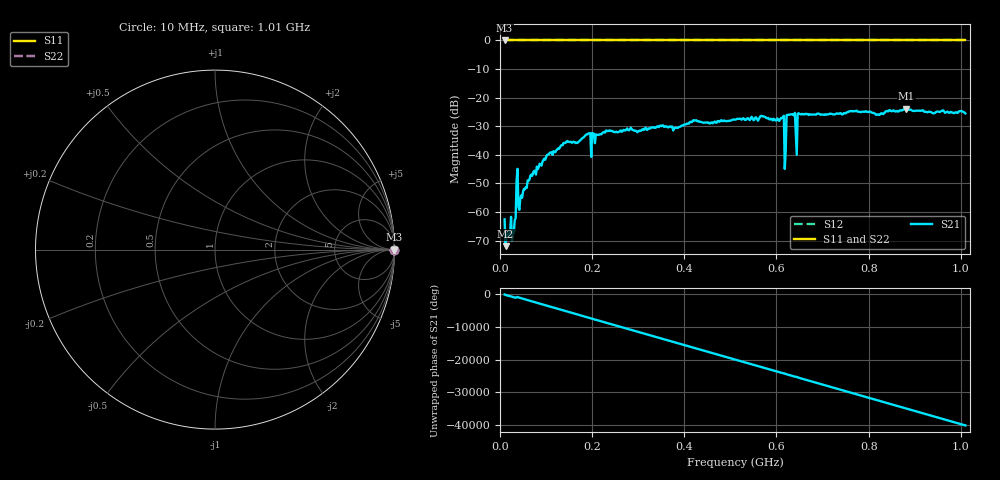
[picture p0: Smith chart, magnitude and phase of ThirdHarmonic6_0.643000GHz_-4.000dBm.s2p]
! 8/15/2025 9:17:06 PM
! C:\ANRITSUVNA\TEMP\TEMP.S2P
! CHANNEL.1
! TR.MEASUREMENT
! RAW.DATA
! RF.CORRECTION.OFF
! AVERAGING.OFF
! IF.BANDWIDTH: 5KHZ
! SWEEPTYPE:  FREQ.SWEEP(Linear)
! Reference Plane Port Info
! PORT:  PORT1  PORT2
! DISTANCE:  0  m  0  m
! TIME:  0  s  0  s
! PHASE.OFFSET:  0  deg.  0  deg.
! LOSS:  0  dB  0  dB
! REF.LOSS:  0  dB  0  dB
! REF.FREQ:  0  Hz  0  Hz
! Power Info
! POWER:  -20  dBm  -20  dBm
! EFF.POWER:  -20  dBm  -20  dBm
! SOURCE.ATTEN:  0  dB  0  dB
! TEST.ATTEN:  0  dB  0  dB
# GHZ S RI R 50.0
! FREQ.GHZ  S11RE  S11IM  S21RE  S21IM  S12RE  S12IM  S22RE  S22IM
!; PortSelection: Port_12
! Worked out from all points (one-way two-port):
!   501 points, 10 MHz to 1.01 GHz, reference 50 ohm
!   highest |S21| = -23.90 dB at 882 MHz (marker M1); lowest = -71.9 dB at 12 MHz (marker M2)
!   lowest |S11| = 0.0 dB at 10 MHz (marker M3)
!   |S11| at or under -10 dB: nowhere
!   |S22| runs from 0.0 to 0.0 dB; largest |S21 - S12| = 1.1
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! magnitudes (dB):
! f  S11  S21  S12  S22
! 10 MHz  0.0  -62.5  0.0  0.0
! 12 MHz  0.0  -71.9  0.0  0.0
! 30 MHz  0.0  -67.0  0.0  0.0
! 34 MHz  0.0  -62.1  0.0  0.0
! 40 MHz  0.0  -58.0  0.0  0.0
! 44 MHz  0.0  -55.4  0.0  0.0
! 64 MHz  0.0  -48.6  0.0  0.0
! 104 MHz  0.0  -39.9  0.0  0.0
! 178 MHz  0.0  -34.3  0.0  0.0
! 344 MHz  0.0  -30.3  0.0  0.0
! 510 MHz  0.0  -27.7  0.0  0.0
! 612 MHz  0.0  -27.1  0.0  0.0
! 616 MHz  0.0  -26.3  0.0  0.0
! 622 MHz  0.0  -26.1  0.0  0.0
! 626 MHz  0.0  -26.0  0.0  0.0
! 636 MHz  0.0  -25.7  0.0  0.0
! 640 MHz  0.0  -25.3  0.0  0.0
! 650 MHz  0.0  -25.7  0.0  0.0
! 678 MHz  0.0  -25.9  0.0  0.0
! 844 MHz  0.0  -24.5  0.0  0.0
! 882 MHz  0.0  -23.9  0.0  0.0
! 1.01 GHz  0.0  -25.5  0.0  0.0
